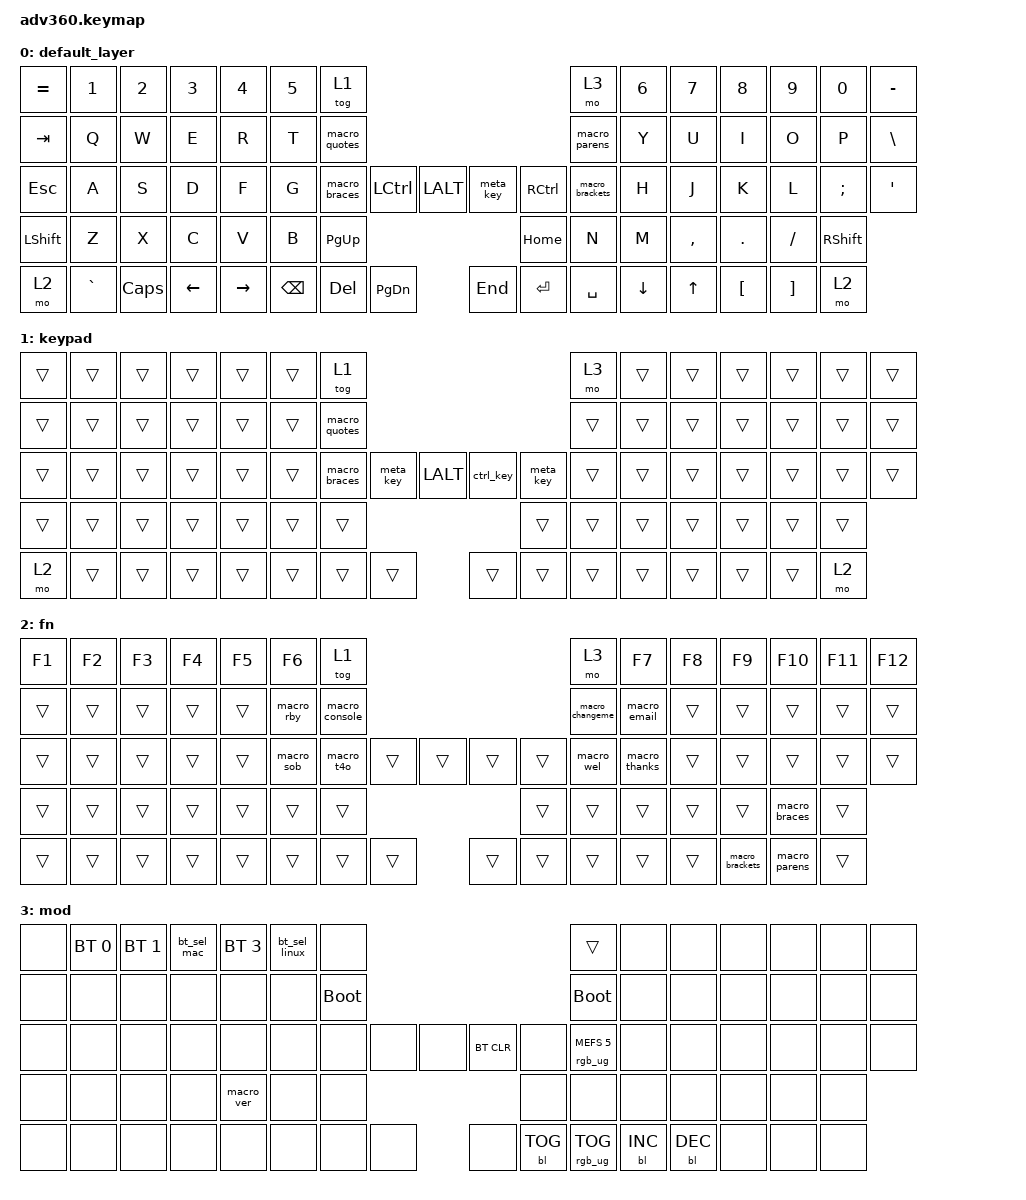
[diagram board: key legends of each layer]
#include <behaviors.dtsi>
#include <dt-bindings/zmk/keys.h>
#include <dt-bindings/zmk/bt.h>
#include <dt-bindings/zmk/rgb.h>
#include <dt-bindings/zmk/backlight.h>

/ {
    behaviors {
      #include "macros.dtsi"
      #include "version.dtsi"
      #ifndef VERSION_MACRO
      macro_ver: macro_ver {
        compatible = "zmk,behavior-macro";
        label = "macro_version";
        #binding-cells = <0>;
        bindings = <&kp RET>;
      };
      #endif

      hm: homerow_mods {
          compatible = "zmk,behavior-hold-tap";
          label = "HOMEROW_MODS";
          #binding-cells = <2>;
          tapping-term-ms = <200>;
          quick_tap_ms = <175>;
          flavor = "tap-preferred";
          bindings = <&kp>, <&kp>;
      };
    };

  keymap {
    compatible = "zmk,keymap";

    default_layer {
      bindings = <
        &kp EQUAL &kp N1    &kp N2   &kp N3   &kp N4     &kp N5 &tog 1                                                           &mo 3          &kp N6  &kp N7 &kp N8 &kp N9 &kp N0   &kp MINUS
        &kp TAB   &kp Q     &kp W    &kp E    &kp R      &kp T  &macro_quotes                                                    &macro_parens  &kp Y   &kp U  &kp I  &kp O  &kp P    &kp BSLH
        &kp ESC   &kp A     &kp S    &kp D    &kp F      &kp G  &macro_braces   &kp LCTRL &LALT    &meta_key  &kp RCTRL          &macro_brackets &kp H  &kp J  &kp K  &kp L  &kp SEMI &kp SQT
        &kp LSHFT &kp Z     &kp X    &kp C    &kp V      &kp B                            &kp PG_UP &kp HOME                         &kp N  &kp M  &kp COMMA &kp DOT  &kp FSLH &kp RSHFT
        &mo 2     &kp GRAVE &kp CAPS &kp LEFT &kp RIGHT                &kp BSPC &kp DEL   &kp PG_DN &kp END   &kp ENTER &kp SPACE    &kp DOWN &kp UP  &kp LBKT &kp RBKT &mo 2
      >;
    };
    keypad {
      bindings = <
        &trans &trans     &trans    &trans    &trans     &trans   &tog 1                                                               &mo 3   &trans  &trans &trans &trans &trans &trans
        &trans &trans     &trans    &trans    &trans      &trans  &macro_quotes                                                        &trans  &trans  &trans &trans &trans &trans &trans
        &trans &trans     &trans    &trans    &trans      &trans  &macro_braces       &meta_key &LALT &ctrl_key &meta_key              &trans  &trans  &trans &trans &trans &trans &trans
        &trans &trans     &trans    &trans    &trans      &trans                            &trans &trans                              &trans  &trans  &trans &trans &trans &trans
        &mo 2  &trans     &trans    &trans    &trans                        &trans &trans   &trans &trans   &trans &trans                      &trans  &trans  &trans &trans &mo 2
      >;
    };
    fn {
      bindings = <
        &kp F1 &kp F2 &kp F3 &kp F4 &kp F5 &kp F6 &tog 1                                           &mo 3 &kp F7 &kp F8 &kp F9 &kp F10 &kp F11 &kp F12
        &trans &trans &trans &trans &trans &macro_rby  &macro_console                                     &macro_changeme &macro_email &trans &trans &trans  &trans  &trans
        &trans &trans &trans &trans &trans &macro_sob  &macro_t4o     &trans &trans &trans &trans         &macro_wel &macro_thanks &trans &trans &trans  &trans  &trans
        &trans &trans &trans &trans &trans &trans                             &trans &trans                     &trans &trans &trans &trans  &macro_braces  &trans
        &trans &trans &trans &trans &trans                      &trans &trans &trans &trans &trans &trans              &trans &trans &macro_brackets  &macro_parens  &trans
      >;
    };
    mod {
      bindings = <
        &none &bt BT_SEL 0 &bt BT_SEL 1 &bt_sel_mac &bt BT_SEL 3 &bt_sel_linux &none                                                                     &trans                 &none        &none        &none        &none &none &none
        &none &none        &none        &none        &none        &none        &bootloader                                                               &bootloader            &none        &none        &none        &none &none &none
        &none &none        &none        &none        &none        &none        &none                   &none &none &bt BT_CLR &none                      &rgb_ug RGB_MEFS_CMD 5 &none        &none        &none        &none &none &none
        &none &none        &none        &none        &macro_ver   &none                                      &none &none                                                        &none        &none        &none        &none &none &none
        &none &none        &none        &none        &none                                       &none &none &none &none      &bl BL_TOG &rgb_ug RGB_TOG                                     &bl BL_INC   &bl BL_DEC   &none &none &none
      >;
    };
  };
};
